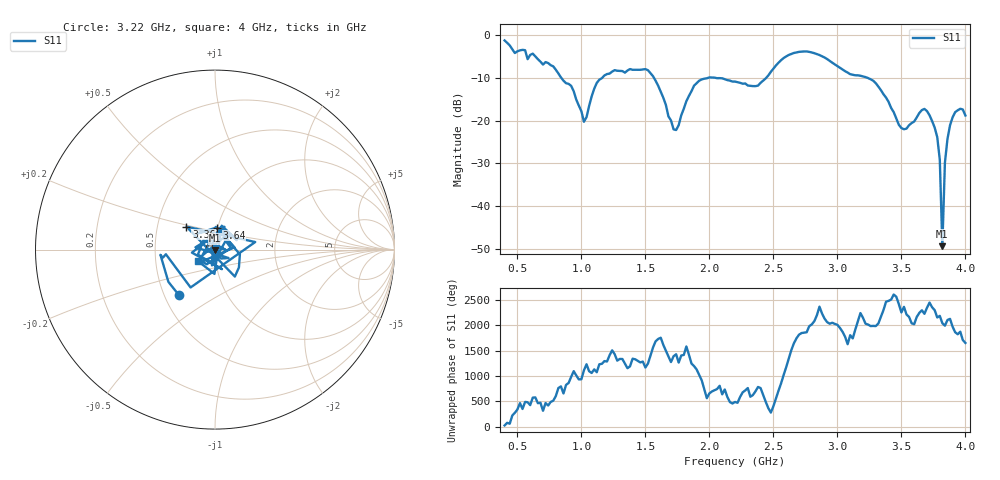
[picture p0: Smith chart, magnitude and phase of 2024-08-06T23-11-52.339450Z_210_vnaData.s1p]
!Created with skrf (http://scikit-rf.org).
# Hz S RI R 50.0
!freq ReS11 ImS11
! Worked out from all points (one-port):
!   181 points, 400 MHz to 4 GHz, reference 50 ohm
!   lowest |S11| = -49.4 dB at 3.82 GHz (marker M1), VSWR 1.01, Z = 49.8 - j0.3 ohm
!   |S11| at or under -10 dB: 1.568 GHz to 1.986 GHz (418.1 MHz wide, 23.5 % of centre); 2.055 GHz to 2.443 GHz (387.8 MHz wide, 17.2 % of centre); 3.239 GHz to end of sweep (the widest 3 of 4)
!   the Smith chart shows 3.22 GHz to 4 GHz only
!   S11 on the Smith chart (normalised r, x): 3.22 GHz: 0.60, -0.34; 3.36 GHz: 0.70, +0.19; 3.64 GHz: 0.99, +0.25; 4 GHz: 0.82, -0.10
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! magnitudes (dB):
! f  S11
! 400 MHz  -1.2
! 860 MHz  -10.6
! 920 MHz  -11.8
! 1.02 GHz  -20.2
! 1.12 GHz  -11.1
! 1.3 GHz  -8.3
! 1.52 GHz  -8.2
! 1.6 GHz  -11.8
! 1.72 GHz  -22.0
! 1.76 GHz  -21.0
! 1.92 GHz  -10.6
! 2.2 GHz  -10.8
! 2.38 GHz  -11.8
! 2.66 GHz  -4.1
! 3.1 GHz  -9.1
! 3.22 GHz  -9.8
! 3.36 GHz  -13.8
! 3.5 GHz  -21.7
! 3.56 GHz  -21.0
! 3.64 GHz  -18.2
! 3.7 GHz  -17.7
! 3.78 GHz  -23.8
! 3.8 GHz  -29.1
! 3.82 GHz  -49.4
! 3.84 GHz  -29.8
! 3.86 GHz  -24.3
! 3.92 GHz  -18.0
! 4 GHz  -18.8
